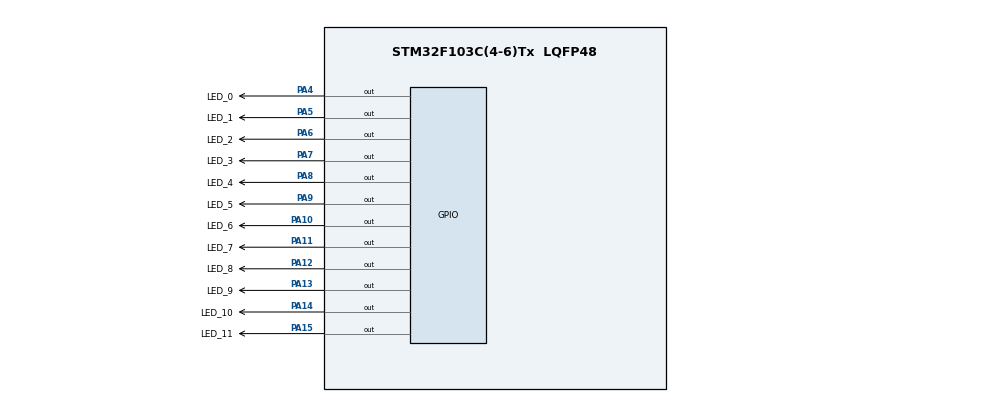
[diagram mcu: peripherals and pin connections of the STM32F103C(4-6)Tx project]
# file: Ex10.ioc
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Mcu.Family=STM32F1
Mcu.Name=STM32F103C(4-6)Tx
Mcu.Package=LQFP48
NVIC.PriorityGroup=NVIC_PRIORITYGROUP_4
PA10.GPIO_Label=LED_6
PA10.Signal=GPIO_Output
PA11.GPIO_Label=LED_7
PA11.Signal=GPIO_Output
PA12.GPIO_Label=LED_8
PA12.Signal=GPIO_Output
PA13.GPIO_Label=LED_9
PA13.Signal=GPIO_Output
PA14.GPIO_Label=LED_10
PA14.Signal=GPIO_Output
PA15.GPIO_Label=LED_11
PA15.Signal=GPIO_Output
PA4.GPIO_Label=LED_0
PA4.Signal=GPIO_Output
PA5.GPIO_Label=LED_1
PA5.Signal=GPIO_Output
PA6.GPIO_Label=LED_2
PA6.Signal=GPIO_Output
PA7.GPIO_Label=LED_3
PA7.Signal=GPIO_Output
PA8.GPIO_Label=LED_4
PA8.Signal=GPIO_Output
PA9.GPIO_Label=LED_5
PA9.Signal=GPIO_Output
ProjectManager.HeapSize=0x200
ProjectManager.StackSize=0x400
ProjectManager.TargetToolchain=STM32CubeIDE
RCC.APB1Freq_Value=8000000
RCC.APB2Freq_Value=8000000
VP_SYS_VS_ND.Mode=No_Debug
board=custom

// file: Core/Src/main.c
/* USER CODE BEGIN Header */
/**
  ******************************************************************************
  * @file           : main.c
  * @brief          : Main program body
  ******************************************************************************
  * @attention
  *
  * <h2><center>&copy; Copyright (c) 2023 STMicroelectronics.
  * All rights reserved.</center></h2>
  *
  * This software component is licensed by ST under BSD 3-Clause license,
  * the "License"; You may not use this file except in compliance with the
  * License. You may obtain a copy of the License at:
  *                        opensource.org/licenses/BSD-3-Clause
  *
  ******************************************************************************
  */
/* USER CODE END Header */
#include "main.h"

void SystemClock_Config(void);
static void MX_GPIO_Init(void);

/* USER CODE BEGIN 0 */
void clearAllClock() {
	  HAL_GPIO_WritePin(LED_0_GPIO_Port, LED_0_Pin, RESET);
	  HAL_GPIO_WritePin(LED_1_GPIO_Port, LED_1_Pin, RESET);
	  HAL_GPIO_WritePin(LED_2_GPIO_Port, LED_2_Pin, RESET);
	  HAL_GPIO_WritePin(LED_3_GPIO_Port, LED_3_Pin, RESET);
	  HAL_GPIO_WritePin(LED_4_GPIO_Port, LED_4_Pin, RESET);
	  HAL_GPIO_WritePin(LED_5_GPIO_Port, LED_5_Pin, RESET);
	  HAL_GPIO_WritePin(LED_6_GPIO_Port, LED_6_Pin, RESET);
	  HAL_GPIO_WritePin(LED_7_GPIO_Port, LED_7_Pin, RESET);
	  HAL_GPIO_WritePin(LED_8_GPIO_Port, LED_8_Pin, RESET);
	  HAL_GPIO_WritePin(LED_9_GPIO_Port, LED_9_Pin, RESET);
	  HAL_GPIO_WritePin(LED_10_GPIO_Port, LED_10_Pin, RESET);
	  HAL_GPIO_WritePin(LED_11_GPIO_Port, LED_11_Pin, RESET);
}

void setNumberOnClock(int num) {
	switch(num) {
		case 0:
			HAL_GPIO_WritePin(LED_0_GPIO_Port, LED_0_Pin, SET);
			break;
		case 1:
			HAL_GPIO_WritePin(LED_1_GPIO_Port, LED_1_Pin, SET);
			break;
		case 2:
			HAL_GPIO_WritePin(LED_2_GPIO_Port, LED_2_Pin, SET);
			break;
		case 3:
			HAL_GPIO_WritePin(LED_3_GPIO_Port, LED_3_Pin, SET);
			break;
		case 4:
			HAL_GPIO_WritePin(LED_4_GPIO_Port, LED_4_Pin, SET);
			break;
		case 5:
			HAL_GPIO_WritePin(LED_5_GPIO_Port, LED_5_Pin, SET);
			break;
		case 6:
			HAL_GPIO_WritePin(LED_6_GPIO_Port, LED_6_Pin, SET);
			break;
		case 7:
			HAL_GPIO_WritePin(LED_7_GPIO_Port, LED_7_Pin, SET);
			break;
		case 8:
			HAL_GPIO_WritePin(LED_8_GPIO_Port, LED_8_Pin, SET);
			break;
		case 9:
			HAL_GPIO_WritePin(LED_9_GPIO_Port, LED_9_Pin, SET);
			break;
		case 10:
			HAL_GPIO_WritePin(LED_10_GPIO_Port, LED_10_Pin, SET);
			break;
		case 11:
			HAL_GPIO_WritePin(LED_11_GPIO_Port, LED_11_Pin, SET);
			break;
	}
}

void clearNumberOnClock(int num) {
	switch(num) {
			case 0:
				HAL_GPIO_WritePin(LED_0_GPIO_Port, LED_0_Pin, RESET);
				break;
			case 1:
				HAL_GPIO_WritePin(LED_1_GPIO_Port, LED_1_Pin, RESET);
				break;
			case 2:
				HAL_GPIO_WritePin(LED_2_GPIO_Port, LED_2_Pin, RESET);
				break;
			case 3:
				HAL_GPIO_WritePin(LED_3_GPIO_Port, LED_3_Pin, RESET);
				break;
			case 4:
				HAL_GPIO_WritePin(LED_4_GPIO_Port, LED_4_Pin, RESET);
				break;
			case 5:
				HAL_GPIO_WritePin(LED_5_GPIO_Port, LED_5_Pin, RESET);
				break;
			case 6:
				HAL_GPIO_WritePin(LED_6_GPIO_Port, LED_6_Pin, RESET);
				break;
			case 7:
				HAL_GPIO_WritePin(LED_7_GPIO_Port, LED_7_Pin, RESET);
				break;
			case 8:
				HAL_GPIO_WritePin(LED_8_GPIO_Port, LED_8_Pin, RESET);
				break;
			case 9:
				HAL_GPIO_WritePin(LED_9_GPIO_Port, LED_9_Pin, RESET);
				break;
			case 10:
				HAL_GPIO_WritePin(LED_10_GPIO_Port, LED_10_Pin, RESET);
				break;
			case 11:
				HAL_GPIO_WritePin(LED_11_GPIO_Port, LED_11_Pin, RESET);
				break;
		}
}
/* USER CODE END 0 */

int main(void)
{

  /* MCU Configuration--------------------------------------------------------*/

  /* Reset of all peripherals, Initializes the Flash interface and the Systick. */
  HAL_Init();

  /* Configure the system clock */
  SystemClock_Config();

  /* Initialize all configured peripherals */
  MX_GPIO_Init();
  /* USER CODE BEGIN 2 */
  int hour = 0;
  int minute = 0;
  int sec = 0;
  int counter0 = 0;
  int counter1 = 0;
  HAL_GPIO_WritePin(LED_0_GPIO_Port, LED_0_Pin, RESET);
  HAL_GPIO_WritePin(LED_2_GPIO_Port, LED_2_Pin, RESET);
  HAL_GPIO_WritePin(LED_3_GPIO_Port, LED_3_Pin, RESET);
  HAL_GPIO_WritePin(LED_4_GPIO_Port, LED_4_Pin, RESET);
  HAL_GPIO_WritePin(LED_5_GPIO_Port, LED_5_Pin, RESET);
  HAL_GPIO_WritePin(LED_6_GPIO_Port, LED_6_Pin, RESET);
  HAL_GPIO_WritePin(LED_7_GPIO_Port, LED_7_Pin, RESET);
  HAL_GPIO_WritePin(LED_8_GPIO_Port, LED_8_Pin, RESET);
  HAL_GPIO_WritePin(LED_9_GPIO_Port, LED_9_Pin, RESET);
  HAL_GPIO_WritePin(LED_10_GPIO_Port, LED_10_Pin, RESET);
  HAL_GPIO_WritePin(LED_11_GPIO_Port, LED_11_Pin, RESET);
  /* USER CODE END 2 */

  /* Infinite loop */
  while (1)
  {
	  if(sec != hour && sec != minute) {
	  		  clearNumberOnClock(sec);
	  	  }
	  	  counter0++;
	  	  if(counter0 > 5){
	  		  sec++;
	  		  counter0 = 1;
	  	  }
	  	  if(sec > 12){
	  		  sec = 0;
	  		  counter1++;
	  		  if(minute != sec && minute != hour){
	  			  clearNumberOnClock(minute);
	  		  }
	  		  if(counter1 > 5){
	  			  minute++;
	  		  	  counter1 = 1;
	  		  }
	  	  }
	  	  if(minute > 12) {
	  	  		  minute = 0;
	  	  		  if(hour != minute && hour != sec){
	  	  		  	  clearNumberOnClock(hour);
	  	  		  }
	  	  		  hour++;
	  	  	  }
	  	  	  if(hour > 12) {
	  	  		  hour = 0;
	  	  	  }
	  		  setNumberOnClock(sec);
	  		  setNumberOnClock(minute);
	  		  setNumberOnClock(hour);
	  	  HAL_Delay(1000);
  }
}

void SystemClock_Config(void)
{
  RCC_OscInitTypeDef RCC_OscInitStruct = {0};
  RCC_ClkInitTypeDef RCC_ClkInitStruct = {0};

  /** Initializes the RCC Oscillators according to the specified parameters
  * in the RCC_OscInitTypeDef structure.
  */
  RCC_OscInitStruct.OscillatorType = RCC_OSCILLATORTYPE_HSI;
  RCC_OscInitStruct.HSIState = RCC_HSI_ON;
  RCC_OscInitStruct.HSICalibrationValue = RCC_HSICALIBRATION_DEFAULT;
  RCC_OscInitStruct.PLL.PLLState = RCC_PLL_NONE;
  if (HAL_RCC_OscConfig(&RCC_OscInitStruct) != HAL_OK)
  {
    Error_Handler();
  }
  /** Initializes the CPU, AHB and APB buses clocks
  */
  RCC_ClkInitStruct.ClockType = RCC_CLOCKTYPE_HCLK|RCC_CLOCKTYPE_SYSCLK
                              |RCC_CLOCKTYPE_PCLK1|RCC_CLOCKTYPE_PCLK2;
  RCC_ClkInitStruct.SYSCLKSource = RCC_SYSCLKSOURCE_HSI;
  RCC_ClkInitStruct.AHBCLKDivider = RCC_SYSCLK_DIV1;
  RCC_ClkInitStruct.APB1CLKDivider = RCC_HCLK_DIV1;
  RCC_ClkInitStruct.APB2CLKDivider = RCC_HCLK_DIV1;

  if (HAL_RCC_ClockConfig(&RCC_ClkInitStruct, FLASH_LATENCY_0) != HAL_OK)
  {
    Error_Handler();
  }
}

static void MX_GPIO_Init(void)
{
  GPIO_InitTypeDef GPIO_InitStruct = {0};

  /* GPIO Ports Clock Enable */
  __HAL_RCC_GPIOA_CLK_ENABLE();

  /*Configure GPIO pin Output Level */
  HAL_GPIO_WritePin(GPIOA, LED_0_Pin|LED_1_Pin|LED_2_Pin|LED_3_Pin
                          |LED_4_Pin|LED_5_Pin|LED_6_Pin|LED_7_Pin
                          |LED_8_Pin|LED_9_Pin|LED_10_Pin|LED_11_Pin, GPIO_PIN_RESET);

  /*Configure GPIO pins : LED_0_Pin LED_1_Pin LED_2_Pin LED_3_Pin
                           LED_4_Pin LED_5_Pin LED_6_Pin LED_7_Pin
                           LED_8_Pin LED_9_Pin LED_10_Pin LED_11_Pin */
  GPIO_InitStruct.Pin = LED_0_Pin|LED_1_Pin|LED_2_Pin|LED_3_Pin
                          |LED_4_Pin|LED_5_Pin|LED_6_Pin|LED_7_Pin
                          |LED_8_Pin|LED_9_Pin|LED_10_Pin|LED_11_Pin;
  GPIO_InitStruct.Mode = GPIO_MODE_OUTPUT_PP;
  GPIO_InitStruct.Pull = GPIO_NOPULL;
  GPIO_InitStruct.Speed = GPIO_SPEED_FREQ_LOW;
  HAL_GPIO_Init(GPIOA, &GPIO_InitStruct);

}

void Error_Handler(void)
{
  __disable_irq();
  while (1)
  {
  }
}

/************************ (C) COPYRIGHT STMicroelectronics *****END OF FILE****/
